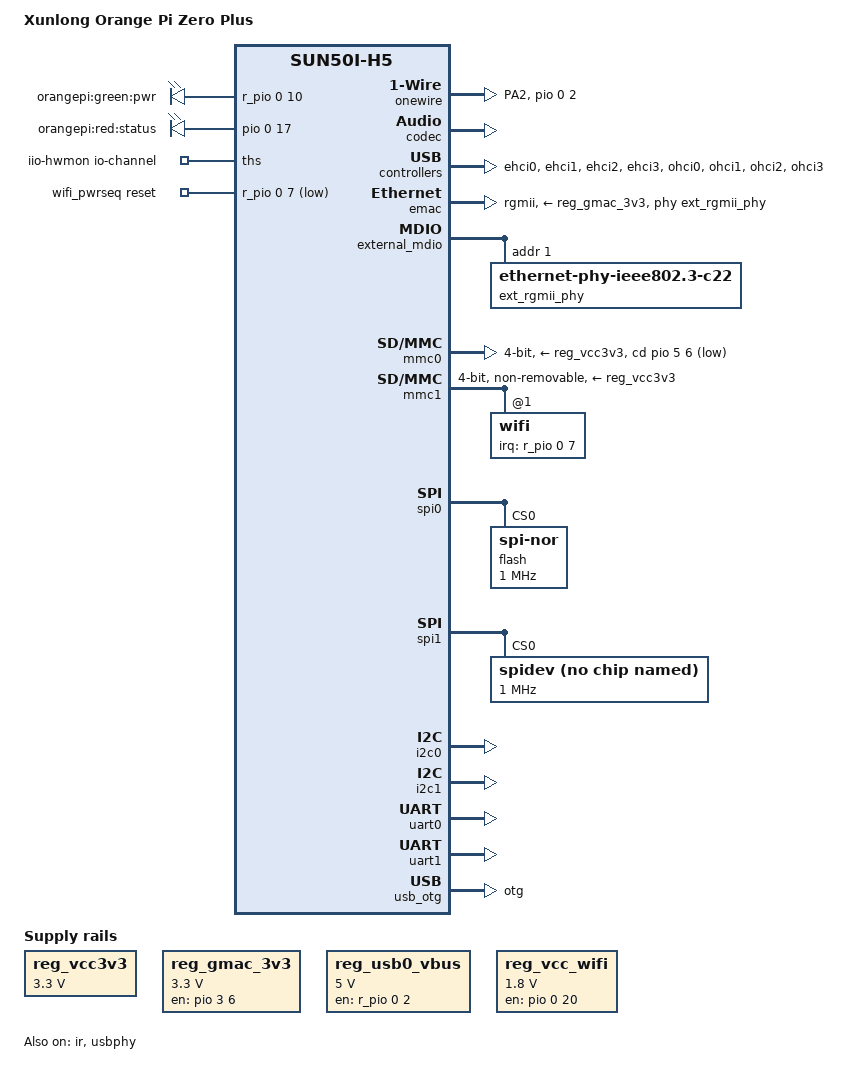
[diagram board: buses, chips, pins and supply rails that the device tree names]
/* by Zdenek Brichacek
   http://blog.brichacek.net
*/

/dts-v1/;
#include "sun50i-h5.dtsi"

#include <dt-bindings/gpio/gpio.h>
#include <dt-bindings/input/input.h>
#include <dt-bindings/pinctrl/sun4i-a10.h>
#include <dt-bindings/thermal/thermal.h>
/ {
	model = "Xunlong Orange Pi Zero Plus";
	compatible = "xunlong,orangepi-zero-plus", "allwinner,sun50i-h5";

	reg_vcc3v3: vcc3v3 {
		compatible = "regulator-fixed";
		regulator-name = "vcc3v3";
		regulator-min-microvolt = <3300000>;
		regulator-max-microvolt = <3300000>;
	};

	aliases {
		ethernet0 = &emac;
		ethernet1 = &wifi;
		serial0 = &uart0;
		serial1 = &uart1;
		spi0 = &spi0;
		spi1 = &spi1;
	};

	chosen {
		stdout-path = "serial0:115200n8";
	};

	leds {
		compatible = "gpio-leds";

		pwr {
			label = "orangepi:green:pwr";
			gpios = <&r_pio 0 10 GPIO_ACTIVE_HIGH>;
			default-state = "on";
		};

		status {
			label = "orangepi:red:status";
			gpios = <&pio 0 17 GPIO_ACTIVE_HIGH>;
		};
	};

	iio-hwmon {
		compatible = "iio-hwmon";
		io-channels = <&ths>;
	};

	soc {
		ths: thermal-sensor@1c25000 {
			compatible = "allwinner,sun50i-h5-ths";
			reg = <0x01c25000 0x100>;
			clocks = <&ccu CLK_BUS_THS>, <&ccu CLK_THS>;
			clock-names = "bus", "mod";
			resets = <&ccu RST_BUS_THS>;
			#thermal-sensor-cells = <0>;
			#io-channel-cells = <0>;
		};

                onewire {
                        compatible = "w1-gpio";
                        pinctrl-names = "default";
                        pinctrl-0 = <&w1_pins>;
                        gpios = <&pio 0 2 0>; // PA02
                        status = "okay";
                };
        };

	reg_gmac_3v3: gmac-3v3 {
		compatible = "regulator-fixed";
		regulator-name = "gmac-3v3";
		regulator-min-microvolt = <3300000>;
		regulator-max-microvolt = <3300000>;
		startup-delay-us = <100000>;
		enable-active-high;
		gpio = <&pio 3 6 GPIO_ACTIVE_HIGH>;
	};

	reg_usb0_vbus: usb0-vbus {
		compatible = "regulator-fixed";
		regulator-name = "usb0-vbus";
		regulator-min-microvolt = <5000000>;
		regulator-max-microvolt = <5000000>;
		enable-active-high;
		gpio = <&r_pio 0 2 GPIO_ACTIVE_HIGH>; /* PL2 */
		status = "okay";
	};

        reg_vcc_wifi: reg_vcc_wifi {
                compatible = "regulator-fixed";
                regulator-min-microvolt = <1800000>;
                regulator-max-microvolt = <1800000>;
                regulator-name = "vcc-wifi";
                enable-active-high;
                gpio = <&pio 0 20 GPIO_ACTIVE_HIGH>;
                startup-delay-us = <70000>;
        };

        wifi_pwrseq: wifi_pwrseq {
                compatible = "mmc-pwrseq-simple";
                pinctrl-names = "default";
                reset-gpios = <&r_pio 0 7 GPIO_ACTIVE_LOW>;
                post-power-on-delay-ms = <50>;
        };

	thermal-zones {
		cpu-thermal {
			/* milliseconds */
			polling-delay-passive = <250>;
			polling-delay = <1000>;
			thermal-sensors = <&ths>;

			trips {
				cpu_warm: cpu_warm {
					temperature = <65000>;
					hysteresis = <2000>;
					type = "passive";
				};

				cpu_hot_pre: cpu_hot_pre {
					temperature = <70000>;
					hysteresis = <2000>;
					type = "passive";
				};

				cpu_hot: cpu_hot {
					temperature = <75000>;
					hysteresis = <2000>;
					type = "passive";
				};

				cpu_very_hot_pre: cpu_very_hot_pre {
					temperature = <85000>;
					hysteresis = <2000>;
					type = "passive";
				};

				cpu_very_hot: cpu_very_hot {
					temperature = <90000>;
					hysteresis = <2000>;
					type = "passive";
				};

				cpu_crit: cpu_crit {
					temperature = <105000>;
					hysteresis = <2000>;
					type = "critical";
				};
			};

			cooling-maps {
				cpu_warm_limit_cpu {
					trip = <&cpu_warm>;
					cooling-device = <&cpu0 THERMAL_NO_LIMIT 2>;
				};

				cpu_hot_pre_limit_cpu {
					trip = <&cpu_hot_pre>;
					cooling-device = <&cpu0 2 3>;
				};

				cpu_hot_limit_cpu {
					trip = <&cpu_hot>;
					cooling-device = <&cpu0 3 4>;
				};

				cpu_very_hot_pre_limit_cpu {
					trip = <&cpu_very_hot>;
					cooling-device = <&cpu0 5 6>;
				};

				cpu_very_hot_limit_cpu {
					trip = <&cpu_very_hot>;
					cooling-device = <&cpu0 7 THERMAL_NO_LIMIT>;
				};
			};
		};
	};

};

&codec {
	allwinner,audio-routing =
		"Line Out", "LINEOUT",
		"MIC1", "Mic",
		"Mic",  "MBIAS";
	status = "okay";
};

&ehci0 {
	status = "okay";
};

&ehci1 {
	status = "okay";
};

&ehci2 {
	status = "okay";
};

&ehci3 {
	status = "okay";
};

&emac {
	pinctrl-names = "default";
	pinctrl-0 = <&emac_rgmii_pins>;
	phy-supply = <&reg_gmac_3v3>;
	phy-handle = <&ext_rgmii_phy>;
	phy-mode = "rgmii";
	status = "okay";
};

&external_mdio {
	ext_rgmii_phy: ethernet-phy@1 {
		compatible = "ethernet-phy-ieee802.3-c22";
		reg = <1>;
	};
};

&ir {
	pinctrl-names = "default";
	pinctrl-0 = <&ir_pins_a>;
	status = "okay";
};

&mmc0 {
	pinctrl-names = "default";
	pinctrl-0 = <&mmc0_pins_a>;
	vmmc-supply = <&reg_vcc3v3>;
	bus-width = <4>;
	cd-gpios = <&pio 5 6 GPIO_ACTIVE_LOW>; /* PF6 */
	status = "okay";
};

&mmc1 {
        pinctrl-names = "default";
        pinctrl-0 = <&mmc1_pins_a>;
        vmmc-supply = <&reg_vcc3v3>;
        mmc-pwrseq = <&wifi_pwrseq>;
        bus-width = <4>;
        non-removable;
        status = "okay";

        wifi: wifi@1 {
                reg = <1>;
//                compatible = "brcm,bcm4329-fmac";
                interrupts = <0 7 IRQ_TYPE_LEVEL_LOW>;  // PL7
                interrupt-names = "host-wake";
                pinctrl-names = "default";
                pinctrl-0 = <&wifi_wake>;
                interrupt-parent = <&r_pio>;
//                interrupt-parent = <&pio>;
//                interrupts = <6 10 IRQ_TYPE_EDGE_RISING>;
        };
};

&r_pio {
        wifi_rst: wifi_rst {
                pins = "PL7";
                function = "gpio_out";
	};
};

&pio {
        wifi_wake: wifi_wake {
                pins = "PG10";
                function = "gpio_in";
	};
        w1_pins: w1_pins {
                pins = "PA2";
                function = "gpio_in";
                bias-pull-up;
        };

        spi1_cs1: spi1_cs1 {
                pins = "PA13";
                function = "gpio_out";
                output-high;
        };

//	pwm1_pin: pwm1 {
//		pins = "PA6"; // PWM na PA6 neni podporovano
//		function = "pwm";
//	};
};

&spi0 {
        status = "okay";

        flash@0 {
                #address-cells = <1>;
                #size-cells = <1>;
//              compatible = "mxicy,mx25l1606e", "winbond,w25q128";
                compatible = "jedec,spi-nor";
                reg = <0>;
//              spi-max-frequency = <40000000>;
                spi-max-frequency = <1000000>;
                status = "okay";
        };
};

&spi1 {
        pinctrl-names = "default", "default";
        pinctrl-1 = <&spi1_cs1>;
        cs-gpios = <0>, <&pio 0 13 0>; // PA13
        status = "okay";
        spidev {
                compatible = "spidev";
                status = "okay";
                reg = <0>;
                spi-max-frequency = <1000000>;
        };
};

&i2c0 {
        status = "okay";
};

&i2c1 {
        status = "okay";
};

//&pwm {
//	pinctrl-names = "default";
//	pinctrl-0 = <&pwm1_pin>;
//        status = "okay";
//};

&ohci0 {
	status = "okay";
};

&ohci1 {
	status = "okay";
};

&ohci2 {
	status = "okay";
};

&ohci3 {
	status = "okay";
};

&uart0 {
	pinctrl-names = "default";
	pinctrl-0 = <&uart0_pins_a>;
	status = "okay";
};

&uart1 {
	pinctrl-names = "default";
	pinctrl-0 = <&uart1_pins>;
	status = "okay";
};

&uart2 {
	pinctrl-names = "default";
	pinctrl-0 = <&uart2_pins>;
	status = "disabled";
};

&usb_otg {
	dr_mode = "otg";
	status = "okay";
};

&usbphy {
	/* USB Type-A ports' VBUS is always on */
	usb0_id_det-gpios = <&pio 6 12 GPIO_ACTIVE_HIGH>; /* PG12 */
	usb0_vbus-supply = <&reg_usb0_vbus>;
	status = "okay";
};
